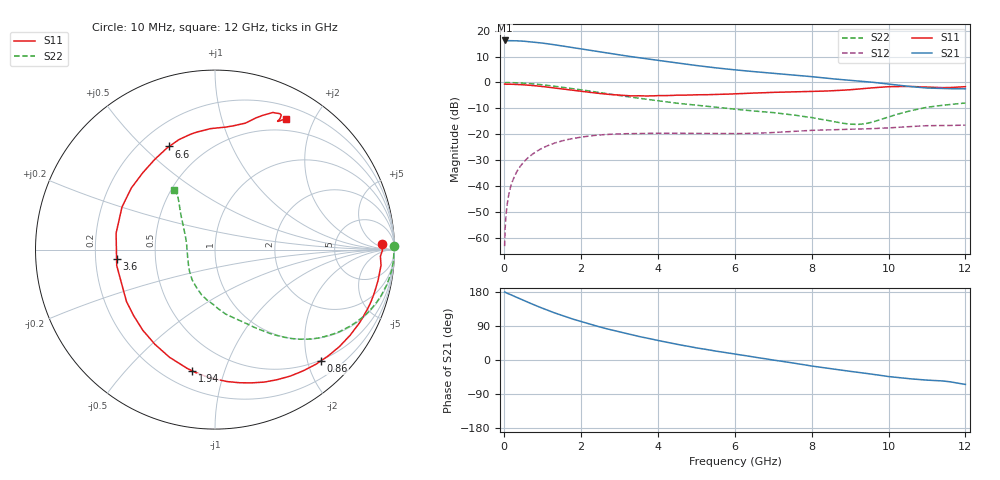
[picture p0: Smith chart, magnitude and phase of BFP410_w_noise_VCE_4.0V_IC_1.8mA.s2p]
! Infineon Technologies  Discrete & RF Semiconductors
! BFP410
! VCE =  4.0 V,  IC =  1.8 mA
! Common Emitter S-Parameters:  Nov 2015
# GHz  S  MA  R  50
!  f  S11  S21  S12  S22
! GHz  MAG  ANG  MAG  ANG  MAG  ANG  MAG  ANG
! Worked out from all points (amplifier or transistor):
!   243 points, 10 MHz to 12 GHz, reference 50 ohm
!   highest |S21| = 16.2 dB at 10 MHz (marker M1)
!   |S21| within 3 dB of that: start of sweep to 1.891 GHz
!   unconditionally stable (mu >= 1): 4.191 GHz to end of sweep
!   at 240 MHz: K = 0.06, MSG = 26.6 dB, |S12| = -37.1 dB
!   at 1.84 GHz: K = 0.35, MSG = 17.4 dB, |S12| = -21.4 dB
!   at 12 GHz: K = 1.15, MAG = 4.6 dB, |S12| = -16.4 dB
!   lowest NFmin = 0.81 dB at 900 MHz
!   S11 on the Smith chart (normalised r, x): 10 MHz: 23, +11; 860 MHz: 0.48, -2.25; 1.94 GHz: 0.31, -0.78; 3.6 GHz: 0.29, -0.04; 6.6 GHz: 0.32, +0.60; 12 GHz: 0.35, +1.63
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0.01  0.9306 1.9  6.456 179.3  0.0007 39.0  1 1.2
0.025  0.9304 -0.7  6.379 178.8  0.0016 77.3  0.9909 0.2
0.07  0.9247 -3.5  6.378 176.5  0.0041 82.8  0.9967 -1.5
0.2  0.9247 -10.7  6.392 171.0  0.0117 82.4  0.9933 -5.1
0.5  0.9021 -27.1  6.254 157.5  0.0289 75.0  0.971 -12.9
0.86  0.8558 -46.4  5.894 142.1  0.0479 64.7  0.9239 -21.8
1.1  0.8201 -59.2  5.611 132.4  0.0592 58.3  0.8838 -27.3
1.3  0.7876 -69.6  5.349 124.7  0.0676 53.0  0.8483 -31.4
1.6  0.7388 -84.6  4.948 114.0  0.0779 45.7  0.7927 -37.1
1.94  0.6872 -100.7  4.509 103.2  0.0872 38.4  0.7332 -42.8
2.02  0.6754 -104.3  4.409 100.8  0.089 36.9  0.7195 -43.9
2.4  0.6252 -122.3  3.99 89.7  0.0963 29.6  0.6539 -49.3
2.78  0.5852 -140.0  3.602 79.5  0.1007 23.2  0.5912 -54.1
3.6  0.5509 -174.5  2.935 60.2  0.1043 12.8  0.4861 -63.1
4.1  0.5576 167.5  2.613 49.5  0.1051 8.2  0.4346 -68.6
5  0.5789 143.6  2.124 32.0  0.1044 2.0  0.3646 -80.5
6.1  0.6075 122.1  1.724 14.2  0.1035 -1.2  0.3005 -93.4
6.6  0.6288 113.9  1.593 6.2  0.1056 -1.8  0.2779 -101.0
8.2  0.6785 88.5  1.249 -18.7  0.1206 -7.4  0.1977 -133.0
9.2  0.7468 74.5  1.07 -32.4  0.1262 -11.5  0.1554 -178.2
10.2  0.8338 65.8  0.897 -45.8  0.1361 -14.9  0.2405 139.2
12  0.8306 61.5  0.754 -64.5  0.1507 -27.6  0.4022 124.6
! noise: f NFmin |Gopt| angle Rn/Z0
0.45  0.85  0.54  8  0.31
0.9  0.81  0.52  22  0.28
1.8  1.05  0.41  56  0.24
2.4  1.11  0.38  66  0.23
5.5  2.29  0.37  -144  0.22
10  4.11  0.71  -57  2.47
